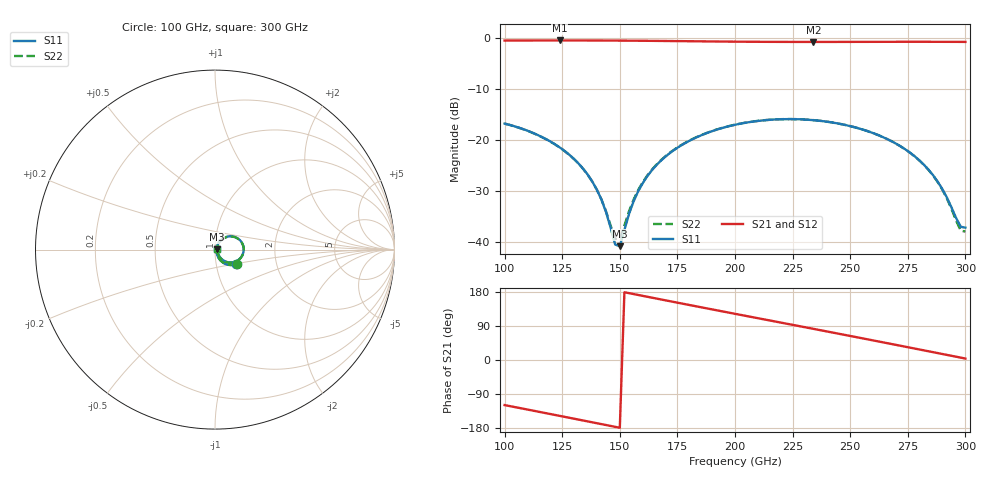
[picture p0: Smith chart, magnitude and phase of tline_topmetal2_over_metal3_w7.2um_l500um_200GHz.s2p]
#  GHZ S DB R 50
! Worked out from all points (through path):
!   101 points, 100 GHz to 300 GHz, reference 50 ohm
!   highest |S21| = -0.45 dB at 124 GHz (marker M1); lowest = -0.7 dB at 234 GHz (marker M2)
!   group delay of S21, straight-line fit = 3.28 ps
!   lowest |S11| = -40.9 dB at 150 GHz (marker M3), VSWR 1.02, Z = 50.9 + j0.242 ohm
!   |S11| at or under -10 dB: start of sweep to end of sweep
!   |S22| runs from -39.5 to -15.9 dB; largest |S21 - S12| = 1.6e-13
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100  -16.80 -34.2  -0.47 -119.0  -0.47 -119.0  -16.81 -33.9
114  -18.97 -48.9  -0.46 -135.6  -0.46 -135.6  -18.99 -48.4
124  -21.51 -58.8  -0.45 -147.6  -0.45 -147.6  -21.53 -58.0
134  -25.63 -66.6  -0.46 -159.6  -0.46 -159.6  -25.66 -65.1
142  -31.72 -65.9  -0.47 -169.2  -0.47 -169.2  -31.67 -62.6
148  -40.59 -26.4  -0.48 -176.4  -0.48 -176.4  -39.46 -20.9
150  -40.90 15.3  -0.49 -178.8  -0.49 -178.8  -39.46 14.5
154  -34.57 54.3  -0.50 176.4  -0.50 176.4  -34.05 50.6
158  -30.09 61.1  -0.51 171.6  -0.51 171.6  -29.85 58.3
162  -27.11 61.2  -0.52 166.8  -0.52 166.8  -26.96 59.1
168  -24.02 57.9  -0.55 159.6  -0.55 159.6  -23.94 56.2
182  -19.78 45.3  -0.61 143.0  -0.61 143.0  -19.74 44.2
200  -17.04 26.6  -0.69 121.9  -0.69 121.9  -17.01 25.7
218  -15.98 7.0  -0.73 100.9  -0.73 100.9  -15.97 6.2
234  -16.13 -10.5  -0.74 82.2  -0.74 82.2  -16.12 -11.3
250  -17.30 -27.6  -0.73 63.5  -0.73 63.5  -17.29 -28.5
268  -20.28 -45.6  -0.72 42.1  -0.72 42.1  -20.28 -46.7
276  -22.53 -52.4  -0.72 32.6  -0.72 32.6  -22.55 -53.6
284  -25.87 -56.5  -0.72 23.0  -0.72 23.0  -25.91 -58.2
290  -29.68 -54.5  -0.72 15.8  -0.72 15.8  -29.81 -56.8
298  -37.10 -13.8  -0.74 6.2  -0.74 6.2  -37.86 -15.4
300  -37.26 11.2  -0.74 3.8  -0.74 3.8  -38.04 12.3
